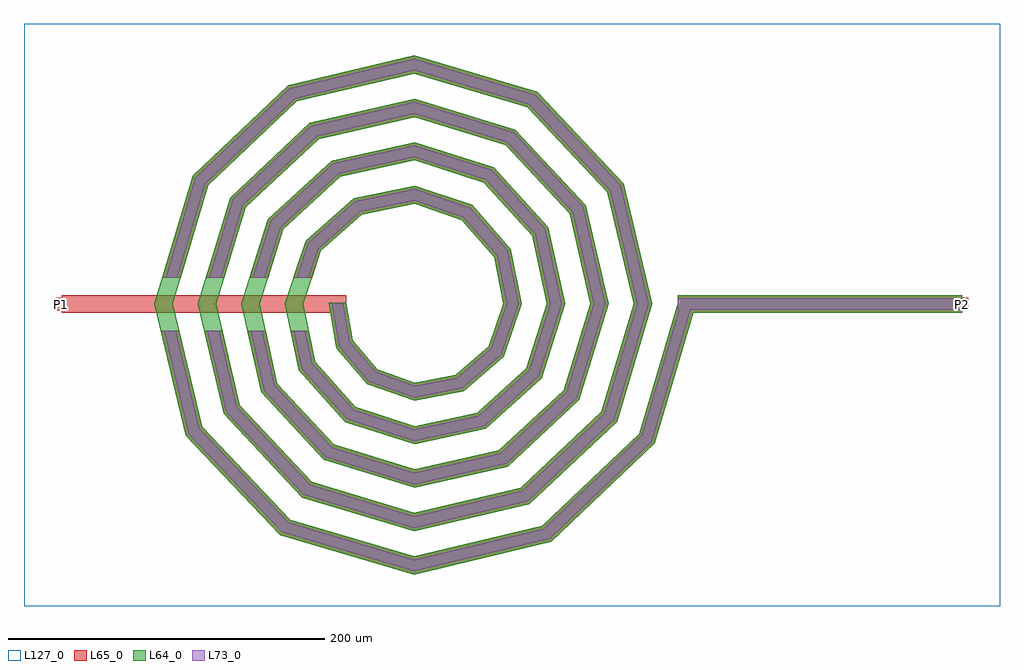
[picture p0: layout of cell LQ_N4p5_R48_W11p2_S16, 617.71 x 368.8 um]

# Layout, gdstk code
import gdstk
lib = gdstk.Library(unit=1e-6, precision=1e-09)
def R(c, l, rs):  # rectangles x0, y0, x1, y1
    for r in rs: c.add(gdstk.rectangle(r[:2], r[2:], *l))
def P(c, l, *ps):  # polygons
    for p in ps: c.add(gdstk.Polygon(p, *l))
L64_0 = (64, 0)
L65_0 = (65, 0)
L73_0 = (73, 0)
L127_0 = (127, 0)

lq_n4p5_r48_w11p2_s16 = lib.new_cell('LQ_N4p5_R48_W11p2_S16')
R(lq_n4p5_r48_w11p2_s16, L64_0, [(166.758,-5.6,346.758,5.6)])
P(lq_n4p5_r48_w11p2_s16, L64_0, [(-38.783,-22.954),(-23.274,-41.244),(0.447,-49.647),(26.341,-44.766),(47.171,-26.758),(56.522,0.397),(50.743,29.739),(30.232,53.104),(0.358,63.398),(-33.145,56.716),(-59.042,33.7),(-70.274,0.326),(-62.686,-36.557),(-37.163,-64.983),(0.299,-77.151),(39.974,-68.655),(70.927,-40.623),(84.028,0.276),(74.622,43.393),(44.079,76.873),(0.256,90.906),(-46.816,80.587),(-82.82,47.533),(-97.783,0.239),(-86.551,-50.241),(-50.986,-88.768),(0.224,-104.661),(53.667,-92.515),(94.718,-54.436),(111.539,0.211),(98.477,57.095),(57.886,100.668),(0.2,118.416),(-60.524,104.439),(-106.619,61.334),(-125.294,0.189),(-110.401,-63.954),(-64.781,-112.57),(0.18,-132.172),(67.385,-116.361),(118.522,-68.228),(139.05,0.171),(122.322,70.817),(71.674,124.475),(0.163,145.928),(-74.25,128.282),(-130.428,75.119),(-152.806,0.156),(-134.242,-77.683),(-78.564,-136.381),(0.15,-159.684),(81.116,-140.202),(142.334,-82.008),(166.987,1.584),(177.729,-1.584),(152.227,-88.057),(86.656,-150.389),(0.15,-171.276),(-84.623,-146.268),(-144.435,-83.212),(-164.397,0.156),(-140.307,81.19),(-79.766,138.482),(0.163,157.519),(77.757,134.347),(132.529,76.321),(150.641,0.171),(128.386,-74.325),(72.875,-126.576),(0.18,-143.762),(-70.893,-122.425),(-120.624,-69.427),(-136.884,0.189),(-116.463,67.462),(-65.98,114.672),(0.2,130.006),(64.033,110.501),(108.72,62.531),(123.127,0.211),(104.538,-60.604),(59.08,-102.77),(0.224,-116.249),(-57.176,-98.574),(-96.82,-55.629),(-109.37,0.239),(-92.609,53.751),(-52.175,90.871),(0.256,102.491),(50.326,86.643),(84.923,48.72),(95.612,0.276),(80.675,-46.905),(45.261,-78.976),(0.299,-88.733),(-43.486,-74.706),(-73.032,-41.8),(-81.854,0.326),(-68.734,40.071),(-38.333,67.089),(0.358,74.974),(36.661,62.758),(61.149,34.862),(68.094,0.397),(56.778,-33.257),(31.382,-55.213),(0.447,-61.213),(-29.863,-50.792),(-49.281,-27.891),(-54.065,0.98),(-43.038,0.98)])
R(lq_n4p5_r48_w11p2_s16, L65_0, [(-222.952,-5.6,-42.952,5.6), (166.758,-5.6,346.758,5.6), (-226.952,-4,-218.952,4), (342.758,-4,350.758,4)])
P(lq_n4p5_r48_w11p2_s16, L65_0, [(-134.242,-77.683),(-78.564,-136.381),(0.15,-159.684),(81.116,-140.202),(142.334,-82.008),(166.987,1.584),(177.729,-1.584),(152.227,-88.057),(86.656,-150.389),(0.15,-171.276),(-84.623,-146.268),(-144.435,-83.212),(-160.337,-16.8),(-148.821,-16.8)],
  [(-110.401,-63.954),(-64.781,-112.57),(0.18,-132.172),(67.386,-116.362),(118.522,-68.228),(139.05,0.171),(122.322,70.817),(71.674,124.475),(0.163,145.928),(-74.25,128.282),(-130.428,75.119),(-147.765,16.8),(-159.45,16.8),(-140.308,81.19),(-79.767,138.482),(0.163,157.519),(77.757,134.347),(132.529,76.321),(150.641,0.171),(128.386,-74.325),(72.875,-126.576),(0.18,-143.763),(-70.893,-122.425),(-120.624,-69.428),(-132.916,-16.8),(-121.414,-16.8)],
  [(-86.551,-50.241),(-50.986,-88.768),(0.224,-104.661),(53.667,-92.515),(94.718,-54.436),(111.539,0.211),(98.477,57.095),(57.886,100.668),(0.2,118.416),(-60.524,104.439),(-106.619,61.334),(-120.137,16.8),(-131.842,16.8),(-116.463,67.462),(-65.98,114.672),(0.2,130.006),(64.033,110.501),(108.721,62.531),(123.127,0.211),(104.538,-60.604),(59.08,-102.77),(0.224,-116.249),(-57.176,-98.574),(-96.82,-55.629),(-105.542,-16.8),(-94.063,-16.8)],
  [(-62.686,-36.557),(-37.163,-64.983),(0.299,-77.151),(39.974,-68.655),(70.927,-40.623),(84.028,0.276),(74.622,43.394),(44.079,76.873),(0.256,90.906),(-46.816,80.587),(-82.82,47.533),(-92.446,16.8),(-104.183,16.8),(-92.609,53.751),(-52.175,90.871),(0.256,102.491),(50.327,86.643),(84.923,48.72),(95.612,0.276),(80.675,-46.905),(45.261,-78.976),(0.299,-88.733),(-43.486,-74.706),(-73.032,-41.8),(-78.267,-16.8),(-66.824,-16.8)],
  [(-23.274,-41.244),(0.447,-49.647),(26.341,-44.766),(47.171,-26.758),(56.522,0.397),(50.743,29.739),(30.232,53.104),(0.358,63.398),(-33.145,56.716),(-59.042,33.7),(-64.621,16.8),(-76.416,16.8),(-68.734,40.071),(-38.334,67.089),(0.358,74.974),(36.661,62.758),(61.149,34.862),(68.094,0.397),(56.778,-33.257),(31.382,-55.213),(0.447,-61.213),(-29.863,-50.792),(-49.281,-27.891),(-54.065,0.98),(-43.038,0.98),(-38.784,-22.954)])
R(lq_n4p5_r48_w11p2_s16, L73_0, [(166.758,-3.6,346.758,3.6)])
P(lq_n4p5_r48_w11p2_s16, L73_0, [(-136.062,-78.67),(-79.646,-138.146),(0.096,-161.754),(82.106,-142.021),(144.101,-83.089),(168.905,1.018),(175.811,-1.018),(150.461,-86.977),(85.667,-148.57),(0.096,-169.206),(-83.541,-144.502),(-142.615,-82.224),(-158.281,-16.8),(-150.877,-16.8)],
  [(-112.226,-64.932),(-65.873,-114.33),(0.116,-134.242),(68.366,-118.186),(120.284,-69.317),(141.12,0.11),(124.145,71.8),(72.76,126.238),(0.105,147.998),(-75.235,130.104),(-132.192,76.203),(-149.852,16.8),(-157.363,16.8),(-138.543,80.106),(-78.781,136.66),(0.105,155.449),(76.671,132.584),(130.706,75.338),(148.571,0.11),(126.625,-73.236),(71.894,-124.752),(0.116,-141.693),(-69.802,-120.665),(-118.798,-68.45),(-130.862,-16.8),(-123.468,-16.8)],
  [(-88.385,-51.203),(-52.091,-90.519),(0.144,-106.73),(54.634,-94.346),(96.471,-55.538),(113.608,0.136),(100.306,58.066),(58.983,102.424),(0.128,120.486),(-61.498,106.266),(-108.377,62.428),(-122.227,16.8),(-129.752,16.8),(-114.705,66.368),(-65.005,112.845),(0.128,127.936),(62.935,108.745),(106.891,61.56),(121.058,0.136),(102.784,-59.503),(58.114,-100.939),(0.144,-114.179),(-56.071,-96.823),(-94.986,-54.667),(-103.492,-16.8),(-96.113,-16.8)],
  [(-64.534,-37.493),(-38.293,-66.72),(0.192,-79.22),(40.918,-70.498),(72.668,-41.745),(86.097,0.177),(76.461,44.345),(45.195,78.617),(0.165,92.975),(-47.773,82.423),(-84.568,48.644),(-94.542,16.8),(-102.087,16.8),(-90.861,52.64),(-51.218,89.035),(0.165,100.422),(49.211,84.898),(83.083,47.769),(93.544,0.177),(78.935,-45.783),(44.317,-77.133),(0.192,-86.665),(-42.357,-72.97),(-71.184,-40.864),(-76.224,-16.8),(-68.868,-16.8)],
  [(-24.451,-42.949),(0.287,-51.712),(27.241,-46.631),(48.887,-27.918),(58.588,0.256),(52.601,30.654),(31.38,54.828),(0.23,65.465),(-34.072,58.568),(-60.773,34.838),(-66.727,16.8),(-74.309,16.8),(-67.003,38.934),(-37.407,65.237),(0.23,72.907),(35.513,61.034),(59.291,33.947),(66.027,0.256),(55.063,-32.097),(30.482,-53.347),(0.287,-59.147),(-28.686,-49.087),(-47.407,-27.009),(-52.096,0.63),(-45.007,0.63),(-40.658,-23.835)])
R(lq_n4p5_r48_w11p2_s16, L127_0, [(-246.952,-191.276,370.758,177.519)])
lq_n4p5_r48_w11p2_s16.add(gdstk.Label('P2', (346.758,0), layer=65, texttype=0))
lq_n4p5_r48_w11p2_s16.add(gdstk.Label('P1', (-222.952,0), layer=65, texttype=0))
lq_n4p5_r48_w11p2_s16.add(gdstk.Label('P2', (350.758,0), layer=145, texttype=0))
lq_n4p5_r48_w11p2_s16.add(gdstk.Label('P1', (-226.952,0), layer=145, texttype=0))

lib.write_gds('LQ_N4p5_R48_W11p2_S16.gds')
